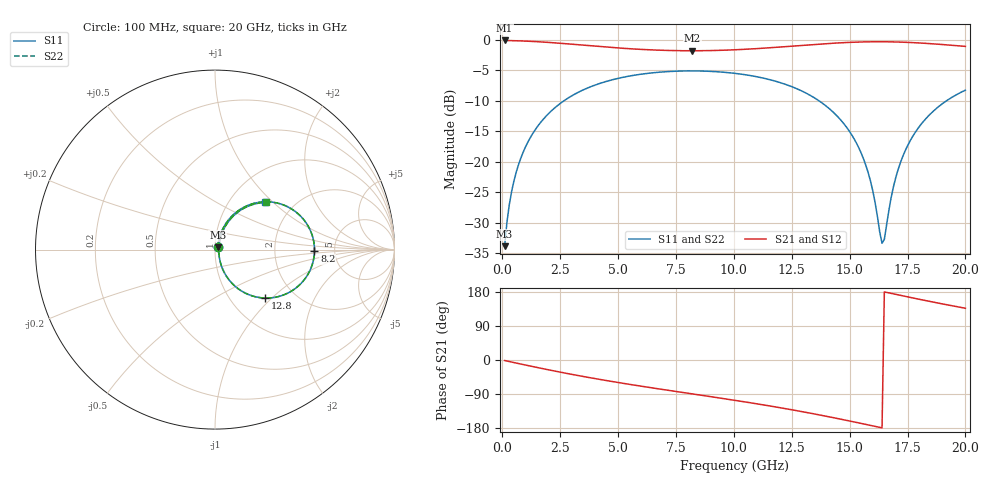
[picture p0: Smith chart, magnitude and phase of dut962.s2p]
! Touchstone file exported from HFSS 2026.1.0
!  File:  C:/ffzhzh/LocalFiles/Ansys_Project_Files/temp_train_TSV_RDL_962_1783284717_38704.aedt
!  Generated:  05:02:56 AM Jul  6, 2026
!  Design:  TSV_RDL
!  Project:  temp_train_TSV_RDL_962_1783284717_38704
! Variables:
!  h_bsmrdl = 3.42um
!  h_ox = 20um
!  h_rdl = 5um
!  h_sub = 73.14um
!  h_tmrdl = 4.77um
!  h_tsv = 73.14um
!  h_via = 3um
!  l_bsmrdl = 602.45um
!  l_sub = 3686.27um
!  l_tmrdl = 335.59um
!  m_sub = 200um
!  pitch = 57.93um
!  r_tsv = 13.45um
!  s_tmrdl = 10um
!  w_bsmrdl = 19.15um
!  w_sub = 500um
!  w_tmrdl = 26.37um
!  x_tsv_center1 = 348.775um
!  x_tsv_center2 = 970.375um
!  x_tsv_center3 = 1332.335um
!  x_tsv_center4 = 1953.935um
!  x_tsv_center5 = 2315.895um
!  x_tsv_center6 = 2937.495um
# GHz S MA R 50.000000
! Terminal data exported
! Port[1] = TM_RDL1_1_T1
! Port[2] = TM_RDL5_1_T1
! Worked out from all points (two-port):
!   200 points, 100 MHz to 20 GHz, reference 50 ohm
!   highest |S21| = -0.13 dB at 100 MHz (marker M1); lowest = -1.8 dB at 8.2 GHz (marker M2)
!   |S21| within 3 dB of the highest: start of sweep to end of sweep
!   lowest |S11| = -33.9 dB at 100 MHz (marker M3), VSWR 1.04, Z = 51.5 + j1.42 ohm
!   |S11| at or under -10 dB: start of sweep to 2.673 GHz; 13.67 GHz to 19.19 GHz (5.528 GHz wide, 33.6 % of centre)
!   |S22| runs from -33.9 to -5.1 dB; largest |S21 - S12| = 4.5e-14
!   S11 on the Smith chart (normalised r, x): 100 MHz: 1.03, +0.03; 8.2 GHz: 3.49, -0.08; 12.8 GHz: 1.44, -0.92; 20 GHz: 1.45, +0.90
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0.1  0.02022 42.9  0.9854 -1.4  0.9854 -1.4  0.02022 42.9
! Gamma 0 0 0 0
! Port Impedance 50 0 50 0
0.3  0.04394 65.0  0.9835 -4.1  0.9835 -4.1  0.04394 65.0
0.5  0.06905 69.4  0.9812 -6.7  0.9812 -6.7  0.06905 69.4
1.1  0.1438 68.3  0.9718 -14.6  0.9718 -14.6  0.1438 68.3
2.1  0.2586 58.5  0.9468 -27.2  0.9468 -27.2  0.2586 58.5
3.5  0.3876 43.4  0.9013 -43.6  0.9013 -43.6  0.3876 43.4
5  0.4815 28.3  0.8553 -59.4  0.8553 -59.4  0.4815 28.3
6.8  0.5414 11.6  0.8196 -76.6  0.8196 -76.6  0.5414 11.6
8.2  0.5544 -0.8  0.8111 -89.4  0.8111 -89.4  0.5544 -0.8
10.1  0.5278 -17.7  0.8271 -106.9  0.8271 -106.9  0.5278 -17.7
12.8  0.3898 -43.9  0.8937 -134.6  0.8937 -134.6  0.3898 -43.9
13.4  0.3404 -50.1  0.9114 -141.4  0.9114 -141.4  0.3404 -50.1
14.6  0.2212 -62.3  0.9426 -155.9  0.9426 -155.9  0.2211 -62.3
15.4  0.1292 -68.4  0.9565 -166.1  0.9565 -166.1  0.1292 -68.3
15.9  0.06937 -66.4  0.961 -172.5  0.961 -172.5  0.06936 -66.3
16.4  0.02136 -9.6  0.9618 -179.1  0.9618 -179.1  0.02141 -9.5
16.5  0.023 21.8  0.9615 179.6  0.9615 179.6  0.02306 21.8
16.7  0.04027 54.1  0.9605 177.0  0.9605 177.0  0.04033 54.1
17.1  0.08674 66.5  0.9567 171.8  0.9567 171.8  0.08678 66.5
17.8  0.1696 64.7  0.9448 162.8  0.9448 162.8  0.1697 64.7
18.7  0.268 56.4  0.9218 151.7  0.9218 151.7  0.268 56.4
20  0.3851 43.1  0.881 136.6  0.881 136.6  0.3851 43.1
